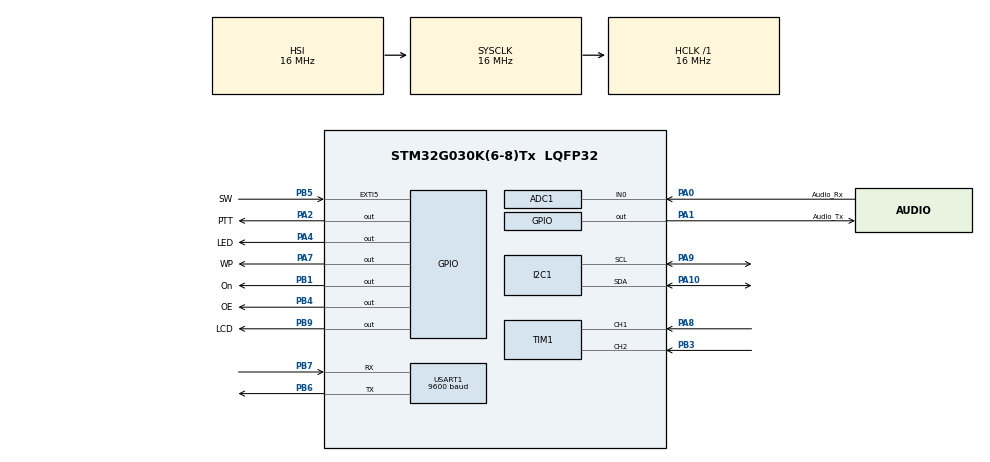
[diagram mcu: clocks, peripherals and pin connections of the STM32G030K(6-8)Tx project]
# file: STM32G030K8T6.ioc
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ADC1.Channel-0\#ChannelRegularConversion=ADC_CHANNEL_0
ADC1.ContinuousConvMode=ENABLE
ADC1.NbrOfConversion=1
ADC1.NbrOfConversionFlag=1
ADC1.Rank-0\#ChannelRegularConversion=1
ADC1.SamplingTime-0\#ChannelRegularConversion=ADC_SAMPLINGTIME_COMMON_1
ADC1.SelectedChannel=ADC_CHANNEL_0
ADC1.master=1
Dma.Request0=USART1_RX
Dma.USART1_RX.0.Direction=DMA_PERIPH_TO_MEMORY
Dma.USART1_RX.0.EventEnable=DISABLE
Dma.USART1_RX.0.Instance=DMA1_Channel1
Dma.USART1_RX.0.MemDataAlignment=DMA_MDATAALIGN_BYTE
Dma.USART1_RX.0.MemInc=DMA_MINC_ENABLE
Dma.USART1_RX.0.Mode=DMA_NORMAL
Dma.USART1_RX.0.PeriphDataAlignment=DMA_PDATAALIGN_BYTE
Dma.USART1_RX.0.PeriphInc=DMA_PINC_DISABLE
Dma.USART1_RX.0.Polarity=HAL_DMAMUX_REQ_GEN_RISING
Dma.USART1_RX.0.Priority=DMA_PRIORITY_VERY_HIGH
Dma.USART1_RX.0.RequestNumber=1
Dma.USART1_RX.0.SignalID=NONE
Dma.USART1_RX.0.SyncEnable=DISABLE
Dma.USART1_RX.0.SyncPolarity=HAL_DMAMUX_SYNC_NO_EVENT
Dma.USART1_RX.0.SyncRequestNumber=1
Dma.USART1_RX.0.SyncSignalID=NONE
Mcu.Family=STM32G0
Mcu.Name=STM32G030K(6-8)Tx
Mcu.Package=LQFP32
NVIC.ADC1_IRQn=true\:0\:0\:false\:false\:true\:true\:true\:true
NVIC.DMA1_Channel1_IRQn=true\:0\:0\:false\:false\:true\:false\:true\:true
NVIC.EXTI4_15_IRQn=true\:0\:0\:false\:false\:true\:true\:true\:true
NVIC.I2C1_IRQn=true\:0\:0\:false\:false\:true\:true\:true\:true
NVIC.TIM14_IRQn=true\:0\:0\:false\:false\:true\:true\:true\:true
PA0.GPIO_Label=Audio_Rx
PA0.Mode=IN0
PA0.Signal=ADC1_IN0
PA1.GPIO_Label=Audio_Tx
PA1.Signal=GPIO_Output
PA10.Mode=I2C
PA10.Signal=I2C1_SDA
PA2.GPIO_Label=PTT
PA2.Signal=GPIO_Output
PA4.GPIO_Label=LED
PA4.Signal=GPIO_Output
PA7.GPIO_Label=WP
PA7.Signal=GPIO_Output
PA8.Signal=S_TIM1_CH1
PA9.Mode=I2C
PA9.Signal=I2C1_SCL
PB1.GPIO_Label=On
PB1.Signal=GPIO_Output
PB3.Signal=S_TIM1_CH2
PB4.GPIO_Label=OE
PB4.Signal=GPIO_Output
PB5.GPIO_Label=SW
PB5.GPIO_ModeDefaultEXTI=GPIO_MODE_IT_FALLING
PB5.Signal=GPXTI5
PB6.Mode=Asynchronous
PB6.Signal=USART1_TX
PB7.Mode=Asynchronous
PB7.Signal=USART1_RX
PB9.GPIO_Label=LCD
PB9.Signal=GPIO_Output
ProjectManager.HeapSize=0x200
ProjectManager.StackSize=0x400
ProjectManager.TargetToolchain=STM32CubeIDE
RCC.AHBFreq_Value=16000000
RCC.CortexFreq_Value=16000000
RCC.EXTERNAL_CLOCK_VALUE=12288000
RCC.HCLKFreq_Value=16000000
RCC.HSE_VALUE=8000000
RCC.HSI_VALUE=16000000
RCC.LSE_VALUE=32768
RCC.SYSCLKFreq_VALUE=16000000
RCC.VCOOutputFreq_Value=128000000
SH.S_TIM1_CH1.0=TIM1_CH1,Encoder_Interface
SH.S_TIM1_CH2.0=TIM1_CH2,Encoder_Interface
TIM14.Prescaler=160-1
USART1.BaudRate=9600
USART1.VirtualMode-Asynchronous=VM_ASYNC
VP_TIM14_VS_ClockSourceINT.Mode=Enable_Timer
board=custom

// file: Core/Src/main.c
/* USER CODE BEGIN Header */
/**
 ******************************************************************************
 * @file           : main.c
 * @brief          : Main program body
 ******************************************************************************
 * @attention
 *
 * Copyright (c) 2024 STMicroelectronics.
 * All rights reserved.
 *
 * This software is licensed under terms that can be found in the LICENSE file
 * in the root directory of this software component.
 * If no LICENSE file comes with this software, it is provided AS-IS.
 *
 ******************************************************************************
 */
/* USER CODE END Header */
#include "main.h"

/* USER CODE BEGIN Includes */
#include "ssd1306.h"
#include "fonts.h"
#include "SA818.h"
#include <string.h>

#define SSD1306_INCLUDE_FONT_7x10
#define FREQ 800
/* USER CODE END Includes */

/* USER CODE BEGIN PD */
#define SSD1306_USE_I2C
int counter = 0;
int counted = 0;
int pageNum = 1;
int rssiBuf[9] = { 0 };
char buf[1024];
uint8_t sfreq = 145, ffreq = 172, step = 9, fstep = 3, mode = 0;
uint8_t rxBuffer[1024];
/* USER CODE END PD */

ADC_HandleTypeDef hadc1;

I2C_HandleTypeDef hi2c1;

TIM_HandleTypeDef htim1;
TIM_HandleTypeDef htim14;

UART_HandleTypeDef huart1;
DMA_HandleTypeDef hdma_usart1_rx;

/* USER CODE BEGIN PV */
SA818_HandleTypeDef hsa818;
/* USER CODE END PV */

void SystemClock_Config(void);
static void MX_GPIO_Init(void);
static void MX_DMA_Init(void);
static void MX_I2C1_Init(void);
static void MX_USART1_UART_Init(void);
static void MX_TIM14_Init(void);
static void MX_ADC1_Init(void);
static void MX_TIM1_Init(void);

/* USER CODE BEGIN 0 */
void delay_200ms() {
	// Это количество тактов для задержки в 200 миллисекунд при 16 МГц
	unsigned long delay_count = 320000;

	while (delay_count > 0) {
		delay_count--;
	}
}

void getRssi() {
	int index = 0;
	int i = 0;

	while (rxBuffer[i] != '\0' && index < 9) {
		if (rxBuffer[i] == '=') {
			i++;
			while (isspace(rxBuffer[i])) {
				i++;
			}
			if (isdigit(rxBuffer[i])
					|| (rxBuffer[i] == '-' && isdigit(rxBuffer[i + 1]))) {
				rssiBuf[index] = atoi((char*) &rxBuffer[i]);
				if (rssiBuf[index] < 20)
					rssiBuf[index] = 0;
				index++;
				// Пропустить число
				while (isdigit(rxBuffer[i]) || rxBuffer[i] == '-') {
					i++;
				}
			}
		} else {
			i++;
		}
	}
}

void nextStep(int txfreq, int rxfreq) {

	uint8_t str[100];
	sprintf(str, "AT+DMOSETGROUP=0,%d.0000,%d.0000,0000,4,0000\r\n", txfreq,
			rxfreq);
	HAL_UART_Transmit(&huart1, str, strlen(str), 300);
	delay_200ms();
	uint8_t str2[] = "RSSI?\r\n";
	HAL_UART_Transmit(&huart1, str2, strlen(str2), 300);
	ssd1306_Fill(Black);
	ssd1306_SetCursor(0, 0);
	sprintf(buf, "TxFreq = %d Mhz", txfreq);
	ssd1306_WriteString(buf, Font_7x10, White);
	ssd1306_SetCursor(0, 20);

	sprintf(buf, "RxFreq = %d MHz", rxfreq);
	ssd1306_WriteString(buf, Font_7x10, White);
	ssd1306_SetCursor(0, 40);

	ssd1306_UpdateScreen();
}

void Eeprom_RW(uint8_t rw) {
//const char wmsg[] = "Some data";
	//char rmsg[sizeof(wmsg)];
	if (rw == 1) {
		uint16_t wmsg[3];
		wmsg[0] = sfreq;
		wmsg[1] = ffreq;
		wmsg[2] = step;
		uint16_t devAddr = (0x50 << 1);
		uint16_t memAddr = 0x0100;
		HAL_StatusTypeDef status;

		HAL_I2C_Mem_Write(&hi2c1, devAddr, memAddr, I2C_MEMADD_SIZE_16BIT,
				(uint8_t*) wmsg, sizeof(wmsg), HAL_MAX_DELAY);

		for (;;) {
			status = HAL_I2C_IsDeviceReady(&hi2c1, devAddr, 1,
			HAL_MAX_DELAY);
			if (status == HAL_OK)
				break;
		}
	} else {
		uint16_t wmsg[2];
		uint16_t rmsg[sizeof(wmsg)];
		memset(wmsg, 0, sizeof(wmsg));
		// HAL expects address to be shifted one bit to the left
		uint16_t devAddr = (0x50 << 1);
		uint16_t memAddr = 0x0100;
		HAL_StatusTypeDef status;

		//HAL_I2C_Mem_Write(&hi2c1, devAddr, memAddr, I2C_MEMADD_SIZE_16BIT,
		//   (uint8_t*)wmsg, sizeof(wmsg), HAL_MAX_DELAY);

		for (;;) {
			status = HAL_I2C_IsDeviceReady(&hi2c1, devAddr, 1,
			HAL_MAX_DELAY);
			if (status == HAL_OK)
				break;
		}

		HAL_I2C_Mem_Read(&hi2c1, devAddr, memAddr, I2C_MEMADD_SIZE_16BIT,
				(uint8_t*) rmsg, sizeof(rmsg), HAL_MAX_DELAY);
		sfreq = rmsg[0];
		ffreq = rmsg[1];
		step = rmsg[2];
	}
}

void HAL_TIM_PeriodElapsedCallback(TIM_HandleTypeDef *htim) {
	counter++;

	if (counter == 1) {
		nextStep(sfreq + counter * fstep, sfreq + counter * fstep);
	} else if (counter == 2) {
		nextStep(sfreq + counter * fstep, sfreq + counter * fstep);

	} else if (counter == 3) {
		nextStep(sfreq + counter * fstep, sfreq + counter * fstep);
	} else if (counter == 4) {
		nextStep(sfreq + counter * fstep, sfreq + counter * fstep);
	} else if (counter == 5) {
		nextStep(sfreq + counter * fstep, sfreq + counter * fstep);
	} else if (counter == 6) {
		nextStep(sfreq + counter * fstep, sfreq + counter * fstep);
	} else if (counter == 7) {
		nextStep(sfreq + counter * fstep, sfreq + counter * fstep);
	} else if (counter == 8) {
		nextStep(sfreq + counter * fstep, sfreq + counter * fstep);
	} else if (counter == 9) {
		nextStep(sfreq + counter * fstep, sfreq + counter * fstep);
	} else if (counter == 10) {
		getRssi();
		counter = 0;
		counted = 1;
		HAL_TIM_Base_Stop(&htim14);
		HAL_ADC_Start_IT(&hadc1);
	}

}
void HAL_GPIO_EXTI_Falling_Callback(uint16_t GPIO_Pin) {
	if (GPIO_Pin == GPIO_PIN_5) {
		if (mode < 5) {
			mode++;

		}
		pageNum += 3;
		if (pageNum == 13)
			pageNum = 1;
	}
}

volatile uint32_t adcValue = 0;
volatile uint32_t sampleCount = 0;
volatile uint32_t zeroCrossings = 0;
volatile uint32_t prevAdcValue = 0;

void ADC_IRQHandler(void) {
	HAL_ADC_IRQHandler(&hadc1);
}

void HAL_ADC_ConvCpltCallback(ADC_HandleTypeDef *hadc) {
	if (hadc->Instance == ADC1) {
		adcValue = HAL_ADC_GetValue(hadc);

		if ((prevAdcValue < 250 && adcValue >= 250)
				|| (prevAdcValue >= 250 && adcValue < 250)) {
			zeroCrossings++;
		}

		prevAdcValue = adcValue;
		sampleCount++;

		if (sampleCount >= 10000) {
			HAL_ADC_Stop_IT(hadc);
		}
	}
}

float calculateFrequency(void) {
	float timePeriod = (sampleCount / 43199.0);
	float frequency = zeroCrossings / (2 * timePeriod);
	return frequency;
}

void drawMenu() {
	Eeprom_RW(1);
	ssd1306_Fill(Black);
	ssd1306_SetCursor(0, 0);
	if (mode == 1)
		sprintf(buf, "* Start: %d Mhz", sfreq);
	else
		sprintf(buf, "Start: %d Mhz", sfreq);
	ssd1306_WriteString(buf, Font_7x10, White);
	ssd1306_SetCursor(0, 20);
	if (mode == 2)
		sprintf(buf, "* Stop: %d MHz", ffreq);
	else
		sprintf(buf, "Stop: %d MHz", ffreq);
	ssd1306_WriteString(buf, Font_7x10, White);

	ssd1306_SetCursor(0, 40);
	if (mode == 3)
		sprintf(buf, "* Steps: %d", step);
	else
		sprintf(buf, "Steps: %d", step);
	ssd1306_WriteString(buf, Font_7x10, White);

	ssd1306_UpdateScreen();
}
/* USER CODE END 0 */

int main(void)
{

  /* MCU Configuration--------------------------------------------------------*/

  /* Reset of all peripherals, Initializes the Flash interface and the Systick. */
  HAL_Init();

  /* Configure the system clock */
  SystemClock_Config();

  /* Initialize all configured peripherals */
  MX_GPIO_Init();
  MX_DMA_Init();
  MX_I2C1_Init();
  MX_USART1_UART_Init();
  MX_TIM14_Init();
  MX_ADC1_Init();
  MX_TIM1_Init();
  /* USER CODE BEGIN 2 */
	HAL_GPIO_WritePin(On_GPIO_Port, On_Pin, GPIO_PIN_RESET);
	HAL_GPIO_WritePin(PTT_GPIO_Port, PTT_Pin, GPIO_PIN_SET);
	HAL_GPIO_WritePin(OE_GPIO_Port, OE_Pin, GPIO_PIN_SET);
	HAL_UART_Receive_DMA(&huart1, rxBuffer, 300);
	ssd1306_Init();
	Eeprom_RW(0);
	uint8_t str[] = "AT+DMOSETGROUP=0,145.0000,145.0000,0000,4,0000\r\n";

	HAL_UART_Transmit(&huart1, str, strlen(str), 300);
	HAL_Delay(200);
	HAL_TIM_Encoder_Start(&htim1, TIM_CHANNEL_ALL);
  /* USER CODE END 2 */

  /* Infinite loop */
  /* USER CODE BEGIN WHILE */
	int32_t prevCounter = 0;

	while (1) {
		if (mode < 4) {
			drawMenu();
			int32_t currCounter = __HAL_TIM_GET_COUNTER(&htim1);
			currCounter = 32767 - ((currCounter - 1) & 0xFFFF) / 2;
			if (currCounter > 32768 / 2) {
				currCounter = currCounter - 32768;
			}
			if (currCounter != prevCounter) {
				int32_t delta = currCounter - prevCounter;
				prevCounter = currCounter;
				if ((delta > -10) && (delta < 10)) {
					if (mode == 1) {
						sfreq += delta;
					} else if (mode == 2) {
						ffreq += delta;
					} else if (mode == 3) {
						step += delta;
					}
				}
			}
		} else if (mode == 4) {
			fstep = (ffreq - sfreq) / step;
			HAL_ADC_Start_IT(&hadc1);
		}
		if (!counted) {
			if (sampleCount >= 10000) {
				int freq = calculateFrequency();
				sampleCount = 0;
				zeroCrossings = 0;
				if ((freq > FREQ - 5) && (freq < FREQ + 5)) {
					//HAL_Delay(50);
					HAL_TIM_Base_Start_IT(&htim14);
				} else
					HAL_ADC_Start_IT(&hadc1);
			}
		} else {

			if (pageNum == 10) {

				;

			} else {
				ssd1306_Fill(Black);
				ssd1306_SetCursor(0, 0);
				sprintf(buf, "RSSI: [%d] %d dbm", pageNum,
						(int) (1.113 * rssiBuf[pageNum - 1] - 160));
				ssd1306_WriteString(buf, Font_7x10, White);
				ssd1306_SetCursor(0, 20);
				sprintf(buf, "RSSI: [%d] %d dbm", pageNum + 1,
						(int) (1.113 * rssiBuf[pageNum] - 160));
				ssd1306_WriteString(buf, Font_7x10, White);
				ssd1306_SetCursor(0, 40);
				sprintf(buf, "RSSI: [%d] %d dbm", pageNum + 2,
						(int) (1.113 * rssiBuf[pageNum + 1] - 160));
				ssd1306_WriteString(buf, Font_7x10, White);
				ssd1306_UpdateScreen();
			}

		}
    /* USER CODE END WHILE */

	}
}

void SystemClock_Config(void)
{
  RCC_OscInitTypeDef RCC_OscInitStruct = {0};
  RCC_ClkInitTypeDef RCC_ClkInitStruct = {0};

  /** Configure the main internal regulator output voltage
  */
  HAL_PWREx_ControlVoltageScaling(PWR_REGULATOR_VOLTAGE_SCALE1);

  /** Initializes the RCC Oscillators according to the specified parameters
  * in the RCC_OscInitTypeDef structure.
  */
  RCC_OscInitStruct.OscillatorType = RCC_OSCILLATORTYPE_HSI;
  RCC_OscInitStruct.HSIState = RCC_HSI_ON;
  RCC_OscInitStruct.HSIDiv = RCC_HSI_DIV1;
  RCC_OscInitStruct.HSICalibrationValue = RCC_HSICALIBRATION_DEFAULT;
  RCC_OscInitStruct.PLL.PLLState = RCC_PLL_NONE;
  if (HAL_RCC_OscConfig(&RCC_OscInitStruct) != HAL_OK)
  {
    Error_Handler();
  }

  /** Initializes the CPU, AHB and APB buses clocks
  */
  RCC_ClkInitStruct.ClockType = RCC_CLOCKTYPE_HCLK|RCC_CLOCKTYPE_SYSCLK
                              |RCC_CLOCKTYPE_PCLK1;
  RCC_ClkInitStruct.SYSCLKSource = RCC_SYSCLKSOURCE_HSI;
  RCC_ClkInitStruct.AHBCLKDivider = RCC_SYSCLK_DIV1;
  RCC_ClkInitStruct.APB1CLKDivider = RCC_HCLK_DIV1;

  if (HAL_RCC_ClockConfig(&RCC_ClkInitStruct, FLASH_LATENCY_0) != HAL_OK)
  {
    Error_Handler();
  }
}

static void MX_ADC1_Init(void)
{

  ADC_ChannelConfTypeDef sConfig = {0};

  /** Configure the global features of the ADC (Clock, Resolution, Data Alignment and number of conversion)
  */
  hadc1.Instance = ADC1;
  hadc1.Init.ClockPrescaler = ADC_CLOCK_SYNC_PCLK_DIV2;
  hadc1.Init.Resolution = ADC_RESOLUTION_12B;
  hadc1.Init.DataAlign = ADC_DATAALIGN_RIGHT;
  hadc1.Init.ScanConvMode = ADC_SCAN_DISABLE;
  hadc1.Init.EOCSelection = ADC_EOC_SINGLE_CONV;
  hadc1.Init.LowPowerAutoWait = DISABLE;
  hadc1.Init.LowPowerAutoPowerOff = DISABLE;
  hadc1.Init.ContinuousConvMode = ENABLE;
  hadc1.Init.NbrOfConversion = 1;
  hadc1.Init.ExternalTrigConv = ADC_SOFTWARE_START;
  hadc1.Init.ExternalTrigConvEdge = ADC_EXTERNALTRIGCONVEDGE_NONE;
  hadc1.Init.DMAContinuousRequests = DISABLE;
  hadc1.Init.Overrun = ADC_OVR_DATA_PRESERVED;
  hadc1.Init.SamplingTimeCommon1 = ADC_SAMPLETIME_1CYCLE_5;
  hadc1.Init.SamplingTimeCommon2 = ADC_SAMPLETIME_1CYCLE_5;
  hadc1.Init.OversamplingMode = DISABLE;
  hadc1.Init.TriggerFrequencyMode = ADC_TRIGGER_FREQ_HIGH;
  if (HAL_ADC_Init(&hadc1) != HAL_OK)
  {
    Error_Handler();
  }

  /** Configure Regular Channel
  */
  sConfig.Channel = ADC_CHANNEL_0;
  sConfig.Rank = ADC_REGULAR_RANK_1;
  sConfig.SamplingTime = ADC_SAMPLINGTIME_COMMON_1;
  if (HAL_ADC_ConfigChannel(&hadc1, &sConfig) != HAL_OK)
  {
    Error_Handler();
  }

}

static void MX_I2C1_Init(void)
{

  hi2c1.Instance = I2C1;
  hi2c1.Init.Timing = 0x00303D5B;
  hi2c1.Init.OwnAddress1 = 0;
  hi2c1.Init.AddressingMode = I2C_ADDRESSINGMODE_7BIT;
  hi2c1.Init.DualAddressMode = I2C_DUALADDRESS_DISABLE;
  hi2c1.Init.OwnAddress2 = 0;
  hi2c1.Init.OwnAddress2Masks = I2C_OA2_NOMASK;
  hi2c1.Init.GeneralCallMode = I2C_GENERALCALL_DISABLE;
  hi2c1.Init.NoStretchMode = I2C_NOSTRETCH_DISABLE;
  if (HAL_I2C_Init(&hi2c1) != HAL_OK)
  {
    Error_Handler();
  }

  /** Configure Analogue filter
  */
  if (HAL_I2CEx_ConfigAnalogFilter(&hi2c1, I2C_ANALOGFILTER_ENABLE) != HAL_OK)
  {
    Error_Handler();
  }

  /** Configure Digital filter
  */
  if (HAL_I2CEx_ConfigDigitalFilter(&hi2c1, 0) != HAL_OK)
  {
    Error_Handler();
  }

}

static void MX_TIM1_Init(void)
{

  TIM_Encoder_InitTypeDef sConfig = {0};
  TIM_MasterConfigTypeDef sMasterConfig = {0};

  htim1.Instance = TIM1;
  htim1.Init.Prescaler = 0;
  htim1.Init.CounterMode = TIM_COUNTERMODE_UP;
  htim1.Init.Period = 65535;
  htim1.Init.ClockDivision = TIM_CLOCKDIVISION_DIV1;
  htim1.Init.RepetitionCounter = 0;
  htim1.Init.AutoReloadPreload = TIM_AUTORELOAD_PRELOAD_DISABLE;
  sConfig.EncoderMode = TIM_ENCODERMODE_TI1;
  sConfig.IC1Polarity = TIM_ICPOLARITY_RISING;
  sConfig.IC1Selection = TIM_ICSELECTION_DIRECTTI;
  sConfig.IC1Prescaler = TIM_ICPSC_DIV1;
  sConfig.IC1Filter = 0;
  sConfig.IC2Polarity = TIM_ICPOLARITY_RISING;
  sConfig.IC2Selection = TIM_ICSELECTION_DIRECTTI;
  sConfig.IC2Prescaler = TIM_ICPSC_DIV1;
  sConfig.IC2Filter = 0;
  if (HAL_TIM_Encoder_Init(&htim1, &sConfig) != HAL_OK)
  {
    Error_Handler();
  }
  sMasterConfig.MasterOutputTrigger = TIM_TRGO_RESET;
  sMasterConfig.MasterOutputTrigger2 = TIM_TRGO2_RESET;
  sMasterConfig.MasterSlaveMode = TIM_MASTERSLAVEMODE_DISABLE;
  if (HAL_TIMEx_MasterConfigSynchronization(&htim1, &sMasterConfig) != HAL_OK)
  {
    Error_Handler();
  }

}

static void MX_TIM14_Init(void)
{

  htim14.Instance = TIM14;
  htim14.Init.Prescaler = 160-1;
  htim14.Init.CounterMode = TIM_COUNTERMODE_UP;
  htim14.Init.Period = 65535;
  htim14.Init.ClockDivision = TIM_CLOCKDIVISION_DIV1;
  htim14.Init.AutoReloadPreload = TIM_AUTORELOAD_PRELOAD_DISABLE;
  if (HAL_TIM_Base_Init(&htim14) != HAL_OK)
  {
    Error_Handler();
  }

}

static void MX_USART1_UART_Init(void)
{

  huart1.Instance = USART1;
  huart1.Init.BaudRate = 9600;
  huart1.Init.WordLength = UART_WORDLENGTH_8B;
  huart1.Init.StopBits = UART_STOPBITS_1;
  huart1.Init.Parity = UART_PARITY_NONE;
  huart1.Init.Mode = UART_MODE_TX_RX;
  huart1.Init.HwFlowCtl = UART_HWCONTROL_NONE;
  huart1.Init.OverSampling = UART_OVERSAMPLING_16;
  huart1.Init.OneBitSampling = UART_ONE_BIT_SAMPLE_DISABLE;
  huart1.Init.ClockPrescaler = UART_PRESCALER_DIV1;
  huart1.AdvancedInit.AdvFeatureInit = UART_ADVFEATURE_NO_INIT;
  if (HAL_UART_Init(&huart1) != HAL_OK)
  {
    Error_Handler();
  }
  if (HAL_UARTEx_SetTxFifoThreshold(&huart1, UART_TXFIFO_THRESHOLD_1_8) != HAL_OK)
  {
    Error_Handler();
  }
  if (HAL_UARTEx_SetRxFifoThreshold(&huart1, UART_RXFIFO_THRESHOLD_1_8) != HAL_OK)
  {
    Error_Handler();
  }
  if (HAL_UARTEx_DisableFifoMode(&huart1) != HAL_OK)
  {
    Error_Handler();
  }

}

static void MX_DMA_Init(void)
{

  /* DMA controller clock enable */
  __HAL_RCC_DMA1_CLK_ENABLE();

  /* DMA interrupt init */
  /* DMA1_Channel1_IRQn interrupt configuration */
  HAL_NVIC_SetPriority(DMA1_Channel1_IRQn, 0, 0);
  HAL_NVIC_EnableIRQ(DMA1_Channel1_IRQn);

}

static void MX_GPIO_Init(void)
{
  GPIO_InitTypeDef GPIO_InitStruct = {0};

  /* GPIO Ports Clock Enable */
  __HAL_RCC_GPIOB_CLK_ENABLE();
  __HAL_RCC_GPIOA_CLK_ENABLE();

  /*Configure GPIO pin Output Level */
  HAL_GPIO_WritePin(GPIOB, LCD_Pin|On_Pin|OE_Pin, GPIO_PIN_RESET);

  /*Configure GPIO pin Output Level */
  HAL_GPIO_WritePin(GPIOA, Audio_Tx_Pin|PTT_Pin|LED_Pin|WP_Pin, GPIO_PIN_RESET);

  /*Configure GPIO pins : LCD_Pin On_Pin OE_Pin */
  GPIO_InitStruct.Pin = LCD_Pin|On_Pin|OE_Pin;
  GPIO_InitStruct.Mode = GPIO_MODE_OUTPUT_PP;
  GPIO_InitStruct.Pull = GPIO_NOPULL;
  GPIO_InitStruct.Speed = GPIO_SPEED_FREQ_LOW;
  HAL_GPIO_Init(GPIOB, &GPIO_InitStruct);

  /*Configure GPIO pins : Audio_Tx_Pin PTT_Pin LED_Pin WP_Pin */
  GPIO_InitStruct.Pin = Audio_Tx_Pin|PTT_Pin|LED_Pin|WP_Pin;
  GPIO_InitStruct.Mode = GPIO_MODE_OUTPUT_PP;
  GPIO_InitStruct.Pull = GPIO_NOPULL;
  GPIO_InitStruct.Speed = GPIO_SPEED_FREQ_LOW;
  HAL_GPIO_Init(GPIOA, &GPIO_InitStruct);

  /*Configure GPIO pin : SW_Pin */
  GPIO_InitStruct.Pin = SW_Pin;
  GPIO_InitStruct.Mode = GPIO_MODE_IT_FALLING;
  GPIO_InitStruct.Pull = GPIO_NOPULL;
  HAL_GPIO_Init(SW_GPIO_Port, &GPIO_InitStruct);

  /* EXTI interrupt init*/
  HAL_NVIC_SetPriority(EXTI4_15_IRQn, 0, 0);
  HAL_NVIC_EnableIRQ(EXTI4_15_IRQn);

}

void Error_Handler(void)
{
	__disable_irq();
	while (1) {
	}
}
